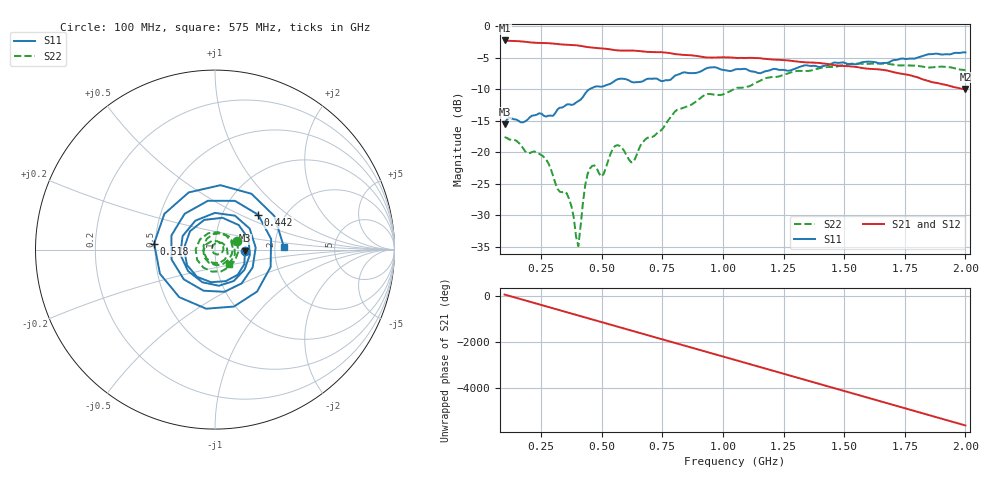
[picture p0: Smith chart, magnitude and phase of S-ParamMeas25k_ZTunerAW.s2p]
!Keysight Technologies,N5242B,MY48420967,A.15.65.19
!Date: Monday, December 19, 2022 09:31:41
!Correction: S11(C  2-Port  )
!S21(C  2-Port  )
!S12(C  2-Port  )
!S22(C  2-Port  )
!S2P File: Measurements: S11, S21, S12, S22:
# Hz S  dB  R 50
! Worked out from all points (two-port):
!   201 points, 100 MHz to 2 GHz, reference 50 ohm
!   highest |S21| = -2.23 dB at 100 MHz (marker M1); lowest = -10.0 dB at 2 GHz (marker M2)
!   |S21| within 3 dB of the highest: start of sweep to 1.196 GHz
!   lowest |S11| = -15.5 dB at 100 MHz (marker M3), VSWR 1.40, Z = 70 - j0.973 ohm
!   |S11| at or under -10 dB: start of sweep to 449.4 MHz
!   |S22| runs from -34.9 to -5.9 dB; largest |S21 - S12| = 0.00035
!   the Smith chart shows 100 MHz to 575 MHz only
!   S11 on the Smith chart (normalised r, x): 100 MHz: 1.40, -0.02; 442 MHz: 1.47, +0.63; 518 MHz: 0.49, +0.04; 575 MHz: 2.24, +0.08
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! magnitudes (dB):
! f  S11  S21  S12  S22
! 100 MHz  -15.5  -2.2  -2.2  -17.6
! 119 MHz  -14.5  -2.3  -2.3  -18.0
! 176 MHz  -15.2  -2.4  -2.4  -19.4
! 271 MHz  -14.3  -2.6  -2.6  -21.1
! 318.5 MHz  -13.2  -2.8  -2.8  -25.8
! 366 MHz  -12.4  -2.9  -2.9  -27.4
! 404 MHz  -11.9  -3.0  -3.0  -34.9
! 423 MHz  -11.2  -3.2  -3.2  -28.0
! 442 MHz  -10.2  -3.3  -3.3  -23.5
! 470.5 MHz  -9.6  -3.4  -3.4  -22.1
! 499 MHz  -9.6  -3.5  -3.5  -23.9
! 518 MHz  -9.3  -3.6  -3.6  -22.4
! 546.5 MHz  -8.9  -3.7  -3.7  -19.4
! 575 MHz  -8.3  -3.8  -3.8  -19.0
! 632 MHz  -8.9  -3.8  -3.8  -21.5
! 670 MHz  -8.7  -4.0  -4.0  -18.4
! 736.5 MHz  -8.5  -4.1  -4.1  -16.7
! 812.5 MHz  -7.7  -4.4  -4.4  -13.2
! 1.05 GHz  -6.8  -5.0  -5.0  -9.9
! 1.373 GHz  -6.3  -5.8  -5.8  -6.9
! 1.687 GHz  -5.7  -7.1  -7.1  -6.0
! 2 GHz  -4.1  -10.0  -10.0  -6.9
